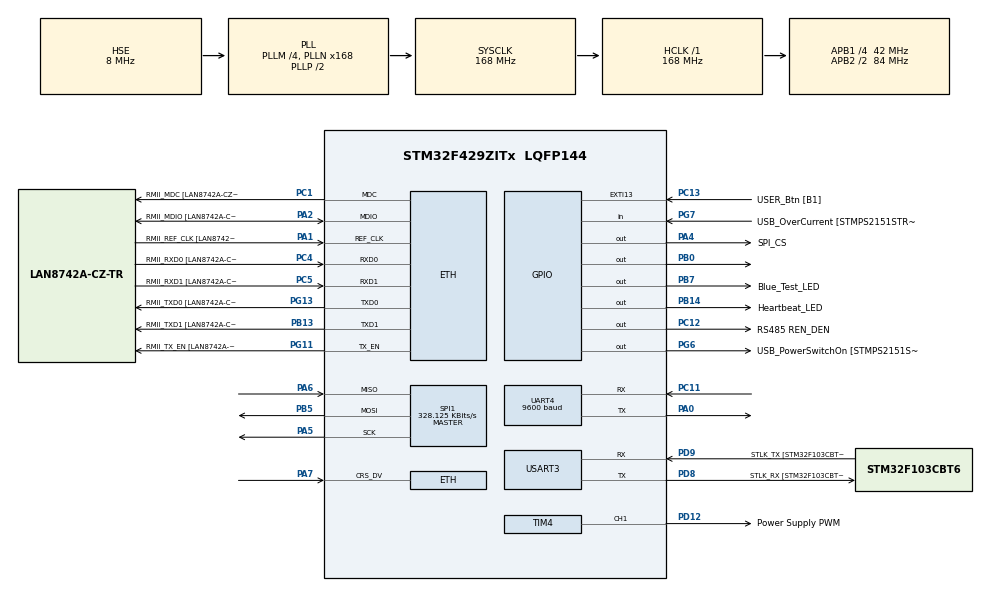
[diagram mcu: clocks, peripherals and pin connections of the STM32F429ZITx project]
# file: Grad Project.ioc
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Dma.Request0=UART4_RX
Dma.UART4_RX.0.Direction=DMA_PERIPH_TO_MEMORY
Dma.UART4_RX.0.FIFOMode=DMA_FIFOMODE_DISABLE
Dma.UART4_RX.0.Instance=DMA1_Stream2
Dma.UART4_RX.0.MemDataAlignment=DMA_MDATAALIGN_BYTE
Dma.UART4_RX.0.MemInc=DMA_MINC_ENABLE
Dma.UART4_RX.0.Mode=DMA_CIRCULAR
Dma.UART4_RX.0.PeriphDataAlignment=DMA_PDATAALIGN_BYTE
Dma.UART4_RX.0.PeriphInc=DMA_PINC_DISABLE
Dma.UART4_RX.0.Priority=DMA_PRIORITY_LOW
ETH.MediaInterface=HAL_ETH_RMII_MODE
LWIP.BSP.number=1
LWIP.GATEWAY_ADDRESS=192.168.000.001
LWIP.IP_ADDRESS=192.168.001.111
LWIP.LWIP_DHCP=0
LWIP.LWIP_HTTPD=1
LWIP.LWIP_HTTPD_CGI=1
LWIP.LWIP_HTTPD_SSI=1
LWIP.NETMASK_ADDRESS=255.255.255.000
LWIP.Version=v2.1.2_Cube
LWIP0.BSP.STBoard=false
LWIP0.BSP.api=BSP_COMPONENT_DRIVER
LWIP0.BSP.component=LAN8742
LWIP0.BSP.instance=LAN8742
LWIP0.BSP.name=Driver_PHY
LWIP0.BSP.semaphore=S_LAN8742
LWIP0.BSP.solution=LAN8742
Mcu.Family=STM32F4
Mcu.Name=STM32F429ZITx
Mcu.Package=LQFP144
NVIC.DMA1_Stream2_IRQn=true\:0\:0\:false\:false\:true\:false\:true\:true
NVIC.PriorityGroup=NVIC_PRIORITYGROUP_4
NVIC.TIM2_IRQn=true\:0\:0\:false\:false\:true\:true\:true\:true
NVIC.TIM3_IRQn=true\:0\:0\:false\:false\:true\:true\:true\:true
NVIC.UART4_IRQn=true\:0\:0\:false\:false\:true\:true\:true\:true
NVIC.USART3_IRQn=true\:0\:0\:false\:false\:true\:true\:true\:true
PA0/WKUP.Mode=Asynchronous
PA0/WKUP.Signal=UART4_TX
PA1.GPIO_Label=RMII_REF_CLK [LAN8742A-CZ-TR_REFCLK0]
PA1.Mode=RMII
PA1.Signal=ETH_REF_CLK
PA10.GPIO_Label=USB_ID
PA10.Signal=USB_OTG_FS_ID
PA11.GPIO_Label=USB_DM
PA11.Signal=USB_OTG_FS_DM
PA12.GPIO_Label=USB_DP
PA12.Signal=USB_OTG_FS_DP
PA13.GPIO_Label=TMS
PA13.Mode=Serial_Wire
PA13.Signal=SYS_JTMS-SWDIO
PA14.GPIO_Label=TCK
PA14.Mode=Serial_Wire
PA14.Signal=SYS_JTCK-SWCLK
PA2.GPIO_Label=RMII_MDIO [LAN8742A-CZ-TR_MDIO]
PA2.Mode=RMII
PA2.Signal=ETH_MDIO
PA4.GPIO_Label=SPI_CS
PA4.Signal=GPIO_Output
PA5.Mode=Full_Duplex_Master
PA5.Signal=SPI1_SCK
PA6.Mode=Full_Duplex_Master
PA6.Signal=SPI1_MISO
PA7.Mode=RMII
PA7.Signal=ETH_CRS_DV
PA8.GPIO_Label=USB_SOF [TP1]
PA8.Signal=USB_OTG_FS_SOF
PA9.GPIO_Label=USB_VBUS
PA9.Signal=USB_OTG_FS_VBUS
PB0.Signal=GPIO_Output
PB13.GPIO_Label=RMII_TXD1 [LAN8742A-CZ-TR_TXD1]
PB13.Mode=RMII
PB13.Signal=ETH_TXD1
PB14.GPIO_Label=Heartbeat_LED
PB14.Signal=GPIO_Output
PB5.Mode=Full_Duplex_Master
PB5.Signal=SPI1_MOSI
PB7.GPIO_Label=Blue_Test_LED
PB7.Signal=GPIO_Output
PC1.GPIO_Label=RMII_MDC [LAN8742A-CZ-TR_MDC]
PC1.Mode=RMII
PC1.Signal=ETH_MDC
PC11.Mode=Asynchronous
PC11.Signal=UART4_RX
PC12.GPIO_Label=RS485 REN_DEN
PC12.Signal=GPIO_Output
PC13.GPIO_Label=USER_Btn [B1]
PC13.Signal=GPXTI13
PC14/OSC32_IN.Mode=LSE-External-Oscillator
PC14/OSC32_IN.Signal=RCC_OSC32_IN
PC15/OSC32_OUT.Mode=LSE-External-Oscillator
PC15/OSC32_OUT.Signal=RCC_OSC32_OUT
PC4.GPIO_Label=RMII_RXD0 [LAN8742A-CZ-TR_RXD0]
PC4.Mode=RMII
PC4.Signal=ETH_RXD0
PC5.GPIO_Label=RMII_RXD1 [LAN8742A-CZ-TR_RXD1]
PC5.Mode=RMII
PC5.Signal=ETH_RXD1
PD12.GPIO_Label=Power Supply PWM
PD12.Signal=S_TIM4_CH1
PD8.GPIO_Label=STLK_RX [STM32F103CBT6_PA3]
PD8.Mode=Asynchronous
PD8.Signal=USART3_TX
PD9.GPIO_Label=STLK_TX [STM32F103CBT6_PA2]
PD9.Mode=Asynchronous
PD9.Signal=USART3_RX
PG11.GPIO_Label=RMII_TX_EN [LAN8742A-CZ-TR_TXEN]
PG11.Mode=RMII
PG11.Signal=ETH_TX_EN
PG13.GPIO_Label=RMII_TXD0 [LAN8742A-CZ-TR_TXD0]
PG13.Mode=RMII
PG13.Signal=ETH_TXD0
PG6.GPIO_Label=USB_PowerSwitchOn [STMPS2151STR_EN]
PG6.Signal=GPIO_Output
PG7.GPIO_Label=USB_OverCurrent [STMPS2151STR_FAULT]
PG7.Signal=GPIO_Input
PH0/OSC_IN.GPIO_Label=MCO [STM32F103CBT6_PA8]
PH0/OSC_IN.Mode=HSE-External-Clock-Source
PH0/OSC_IN.Signal=RCC_OSC_IN
PH1/OSC_OUT.Mode=HSE-External-Clock-Source
PH1/OSC_OUT.Signal=RCC_OSC_OUT
ProjectManager.HeapSize=0x200
ProjectManager.StackSize=0x400
ProjectManager.TargetToolchain=STM32CubeIDE
RCC.48MHZClocksFreq_Value=48000000
RCC.AHBFreq_Value=168000000
RCC.APB1CLKDivider=RCC_HCLK_DIV4
RCC.APB1Freq_Value=42000000
RCC.APB1TimFreq_Value=84000000
RCC.APB2CLKDivider=RCC_HCLK_DIV2
RCC.APB2Freq_Value=84000000
RCC.APB2TimCLKDivider=2
RCC.APB2TimFreq_Value=168000000
RCC.CortexFreq_Value=168000000
RCC.HCLKFreq_Value=168000000
RCC.HSE_VALUE=8000000
RCC.HSI_VALUE=16000000
RCC.PLLM=4
RCC.PLLMUL=RCC_PLL_MUL9
RCC.PLLN=168
RCC.PLLQ=7
RCC.PLLSourceVirtual=RCC_PLLSOURCE_HSE
RCC.PRESCALERUSB=RCC_USBCLKSOURCE_PLL_DIV1_5
RCC.SYSCLKFreq_VALUE=168000000
RCC.SYSCLKSource=RCC_SYSCLKSOURCE_PLLCLK
RCC.SYSCLKSourceVirtual=RCC_SYSCLKSOURCE_PLLCLK
RCC.USBFreq_Value=48000000
RCC.VCOOutputFreq_Value=336000000
SH.S_TIM4_CH1.0=TIM4_CH1,PWM Generation1 CH1
SPI1.BaudRatePrescaler=SPI_BAUDRATEPRESCALER_256
SPI1.CLKPhase=SPI_PHASE_2EDGE
SPI1.CLKPolarity=SPI_POLARITY_HIGH
SPI1.CRCCalculation=SPI_CRCCALCULATION_DISABLE
SPI1.CalculateBaudRate=328.125 KBits/s
SPI1.Direction=SPI_DIRECTION_2LINES
SPI1.Mode=SPI_MODE_MASTER
SPI1.VirtualType=VM_MASTER
TIM2.Period=20 - 1
TIM2.Prescaler=42000 - 1
TIM3.AutoReloadPreload=TIM_AUTORELOAD_PRELOAD_DISABLE
TIM3.Period=20 - 1
TIM3.Prescaler=42000 - 1
TIM4.Channel-PWM\ Generation1\ CH1=TIM_CHANNEL_1
TIM4.Period=100-1
TIM4.Prescaler=840 - 1
UART4.BaudRate=9600
UART4.VirtualMode=Asynchronous
USART3.VirtualMode=VM_ASYNC
VP_CRC_VS_CRC.Mode=CRC_Activate
VP_IWDG_VS_IWDG.Mode=IWDG_Activate
VP_LWIP_VS_Enabled.Mode=Enabled
VP_RTC_VS_RTC_Activate.Mode=RTC_Enabled
VP_TIM2_VS_ClockSourceINT.Mode=Internal
VP_TIM3_VS_ClockSourceINT.Mode=Internal
VP_TIM4_VS_ClockSourceINT.Mode=Internal
board=NUCLEO-F429ZI

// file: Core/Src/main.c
/* USER CODE BEGIN Header */
/**
  ******************************************************************************
  * @file           : main.c
  * @brief          : Main program body
  ******************************************************************************
  * @attention
  *
  * Copyright (c) 2023 STMicroelectronics.
  * All rights reserved.
  *
  * This software is licensed under terms that can be found in the LICENSE file
  * in the root directory of this software component.
  * If no LICENSE file comes with this software, it is provided AS-IS.
  *
  ******************************************************************************
  */
/* USER CODE END Header */
#include "main.h"
#include "lwip.h"

/* USER CODE BEGIN Includes */
#include "KernalThread.h"
#include "Disk\SPI.h"
#include "SoftTimers.h"
#include "RS485.h"
#include "UserApps/PowerControlTask.h"
#include "lwip/apps/httpd.h"

/* USER CODE END Includes */

CRC_HandleTypeDef hcrc;

IWDG_HandleTypeDef hiwdg;

RTC_HandleTypeDef hrtc;

SPI_HandleTypeDef hspi1;

TIM_HandleTypeDef htim2;
TIM_HandleTypeDef htim3;
TIM_HandleTypeDef htim4;

UART_HandleTypeDef huart4;
UART_HandleTypeDef huart3;
DMA_HandleTypeDef hdma_uart4_rx;

/* USER CODE BEGIN PV */
extern struct netif gnetif;
/* USER CODE END PV */

void SystemClock_Config(void);
static void MX_GPIO_Init(void);
static void MX_DMA_Init(void);
static void MX_USART3_UART_Init(void);
static void MX_CRC_Init(void);
static void MX_UART4_Init(void);
static void MX_TIM3_Init(void);
static void MX_TIM4_Init(void);
static void MX_SPI1_Init(void);
static void MX_TIM2_Init(void);
static void MX_RTC_Init(void);
static void MX_IWDG_Init(void);

/* USER CODE BEGIN 0 */
int __io_putchar(int ch)
{
	HAL_UART_Transmit(&huart3, (uint8_t *)&ch, 1, HAL_MAX_DELAY);

	return ch;
}

int __io_getchar(int ch)
{
	HAL_UART_Receive(&huart3, (uint8_t *)&ch, 1, HAL_MAX_DELAY);
	HAL_UART_Transmit(&huart3, (uint8_t *)&ch, 1, HAL_MAX_DELAY);

	return ch;
}

void HAL_UART_TxCpltCallback(UART_HandleTypeDef *huart)
{
	if ( huart == NULL)
	{
		return;
	}
	if ( huart->Instance == UART4)
	{
		RS485TxInterrupt();
	}
}

void HAL_UARTEx_RxEventCallback(UART_HandleTypeDef *huart, uint16_t Size)
{
	if ( huart == NULL)
	{
		return;
	}
	if ( huart->Instance == UART4)
	{
		RS485RxInterrupt(Size);
	}
}

void HAL_TIM_PeriodElapsedCallback(TIM_HandleTypeDef * htim)
{
	if ( htim == NULL)
	{
		return;
	}
	if (htim == &htim3)
	{

		TimerInterrupt();
	}
}

void HAL_SPI_TxCpltCallback(SPI_HandleTypeDef *hspi)
{
	if ( hspi == &hspi1)
	{
		//SPI_TxInterrupt();
	}
}

void HAL_SPI_RxCpltCallback(SPI_HandleTypeDef *hspi)
{
	if ( hspi == &hspi1)
	{
		//SPI_RxInterrupt();
	}
}
/* USER CODE END 0 */

int main(void)
{

  /* MCU Configuration--------------------------------------------------------*/

  /* Reset of all peripherals, Initializes the Flash interface and the Systick. */
  HAL_Init();

  /* Configure the system clock */
  SystemClock_Config();

  /* Initialize all configured peripherals */
  MX_GPIO_Init();
  MX_DMA_Init();
  MX_USART3_UART_Init();
  MX_CRC_Init();
  MX_UART4_Init();
  MX_TIM3_Init();
  MX_TIM4_Init();
  MX_SPI1_Init();
  MX_TIM2_Init();
  MX_LWIP_Init();
  MX_RTC_Init();
  //MX_IWDG_Init();
  /* USER CODE BEGIN 2 */
  HAL_TIM_Base_Start_IT(&htim4);
  HAL_TIM_PWM_Start(&htim4, TIM_CHANNEL_1);
  HAL_TIM_Base_Start_IT(&htim3);
  httpd_init();
  /* USER CODE END 2 */

  /* Infinite loop */
  /* USER CODE BEGIN WHILE */
  while (1)
  {
	  //HAL_IWDG_Refresh(&hiwdg);
	  printf("Starting Kernel Task\n");
	  KernalTask();
    /* USER CODE END WHILE */

  }
}

void SystemClock_Config(void)
{
  RCC_OscInitTypeDef RCC_OscInitStruct = {0};
  RCC_ClkInitTypeDef RCC_ClkInitStruct = {0};

  /** Configure the main internal regulator output voltage
  */
  __HAL_RCC_PWR_CLK_ENABLE();
  __HAL_PWR_VOLTAGESCALING_CONFIG(PWR_REGULATOR_VOLTAGE_SCALE1);

  /** Initializes the RCC Oscillators according to the specified parameters
  * in the RCC_OscInitTypeDef structure.
  */
  RCC_OscInitStruct.OscillatorType = RCC_OSCILLATORTYPE_LSI|RCC_OSCILLATORTYPE_HSE;
  RCC_OscInitStruct.HSEState = RCC_HSE_BYPASS;
  RCC_OscInitStruct.LSIState = RCC_LSI_ON;
  RCC_OscInitStruct.PLL.PLLState = RCC_PLL_ON;
  RCC_OscInitStruct.PLL.PLLSource = RCC_PLLSOURCE_HSE;
  RCC_OscInitStruct.PLL.PLLM = 4;
  RCC_OscInitStruct.PLL.PLLN = 168;
  RCC_OscInitStruct.PLL.PLLP = RCC_PLLP_DIV2;
  RCC_OscInitStruct.PLL.PLLQ = 7;
  if (HAL_RCC_OscConfig(&RCC_OscInitStruct) != HAL_OK)
  {
    Error_Handler();
  }

  /** Initializes the CPU, AHB and APB buses clocks
  */
  RCC_ClkInitStruct.ClockType = RCC_CLOCKTYPE_HCLK|RCC_CLOCKTYPE_SYSCLK
                              |RCC_CLOCKTYPE_PCLK1|RCC_CLOCKTYPE_PCLK2;
  RCC_ClkInitStruct.SYSCLKSource = RCC_SYSCLKSOURCE_PLLCLK;
  RCC_ClkInitStruct.AHBCLKDivider = RCC_SYSCLK_DIV1;
  RCC_ClkInitStruct.APB1CLKDivider = RCC_HCLK_DIV4;
  RCC_ClkInitStruct.APB2CLKDivider = RCC_HCLK_DIV2;

  if (HAL_RCC_ClockConfig(&RCC_ClkInitStruct, FLASH_LATENCY_5) != HAL_OK)
  {
    Error_Handler();
  }
}

static void MX_CRC_Init(void)
{

  hcrc.Instance = CRC;
  if (HAL_CRC_Init(&hcrc) != HAL_OK)
  {
    Error_Handler();
  }

}

static void MX_IWDG_Init(void)
{

  hiwdg.Instance = IWDG;
  hiwdg.Init.Prescaler = IWDG_PRESCALER_4;
  hiwdg.Init.Reload = 4095;
  if (HAL_IWDG_Init(&hiwdg) != HAL_OK)
  {
    Error_Handler();
  }

}

static void MX_RTC_Init(void)
{

  /** Initialize RTC Only
  */
  hrtc.Instance = RTC;
  hrtc.Init.HourFormat = RTC_HOURFORMAT_24;
  hrtc.Init.AsynchPrediv = 127;
  hrtc.Init.SynchPrediv = 255;
  hrtc.Init.OutPut = RTC_OUTPUT_DISABLE;
  hrtc.Init.OutPutPolarity = RTC_OUTPUT_POLARITY_HIGH;
  hrtc.Init.OutPutType = RTC_OUTPUT_TYPE_OPENDRAIN;
  if (HAL_RTC_Init(&hrtc) != HAL_OK)
  {
    Error_Handler();
  }

}

static void MX_SPI1_Init(void)
{

  /* SPI1 parameter configuration*/
  hspi1.Instance = SPI1;
  hspi1.Init.Mode = SPI_MODE_MASTER;
  hspi1.Init.Direction = SPI_DIRECTION_2LINES;
  hspi1.Init.DataSize = SPI_DATASIZE_8BIT;
  hspi1.Init.CLKPolarity = SPI_POLARITY_HIGH;
  hspi1.Init.CLKPhase = SPI_PHASE_2EDGE;
  hspi1.Init.NSS = SPI_NSS_SOFT;
  hspi1.Init.BaudRatePrescaler = SPI_BAUDRATEPRESCALER_256;
  hspi1.Init.FirstBit = SPI_FIRSTBIT_MSB;
  hspi1.Init.TIMode = SPI_TIMODE_DISABLE;
  hspi1.Init.CRCCalculation = SPI_CRCCALCULATION_DISABLE;
  hspi1.Init.CRCPolynomial = 10;
  if (HAL_SPI_Init(&hspi1) != HAL_OK)
  {
    Error_Handler();
  }

}

static void MX_TIM2_Init(void)
{

  TIM_ClockConfigTypeDef sClockSourceConfig = {0};
  TIM_MasterConfigTypeDef sMasterConfig = {0};

  htim2.Instance = TIM2;
  htim2.Init.Prescaler = 42000 - 1;
  htim2.Init.CounterMode = TIM_COUNTERMODE_UP;
  htim2.Init.Period = 20 - 1;
  htim2.Init.ClockDivision = TIM_CLOCKDIVISION_DIV1;
  htim2.Init.AutoReloadPreload = TIM_AUTORELOAD_PRELOAD_DISABLE;
  if (HAL_TIM_Base_Init(&htim2) != HAL_OK)
  {
    Error_Handler();
  }
  sClockSourceConfig.ClockSource = TIM_CLOCKSOURCE_INTERNAL;
  if (HAL_TIM_ConfigClockSource(&htim2, &sClockSourceConfig) != HAL_OK)
  {
    Error_Handler();
  }
  sMasterConfig.MasterOutputTrigger = TIM_TRGO_RESET;
  sMasterConfig.MasterSlaveMode = TIM_MASTERSLAVEMODE_DISABLE;
  if (HAL_TIMEx_MasterConfigSynchronization(&htim2, &sMasterConfig) != HAL_OK)
  {
    Error_Handler();
  }

}

static void MX_TIM3_Init(void)
{

  TIM_ClockConfigTypeDef sClockSourceConfig = {0};
  TIM_MasterConfigTypeDef sMasterConfig = {0};

  htim3.Instance = TIM3;
  htim3.Init.Prescaler = 42000 - 1;
  htim3.Init.CounterMode = TIM_COUNTERMODE_UP;
  htim3.Init.Period = 20 - 1;
  htim3.Init.ClockDivision = TIM_CLOCKDIVISION_DIV1;
  htim3.Init.AutoReloadPreload = TIM_AUTORELOAD_PRELOAD_DISABLE;
  if (HAL_TIM_Base_Init(&htim3) != HAL_OK)
  {
    Error_Handler();
  }
  sClockSourceConfig.ClockSource = TIM_CLOCKSOURCE_INTERNAL;
  if (HAL_TIM_ConfigClockSource(&htim3, &sClockSourceConfig) != HAL_OK)
  {
    Error_Handler();
  }
  sMasterConfig.MasterOutputTrigger = TIM_TRGO_RESET;
  sMasterConfig.MasterSlaveMode = TIM_MASTERSLAVEMODE_DISABLE;
  if (HAL_TIMEx_MasterConfigSynchronization(&htim3, &sMasterConfig) != HAL_OK)
  {
    Error_Handler();
  }

}

static void MX_TIM4_Init(void)
{

  TIM_ClockConfigTypeDef sClockSourceConfig = {0};
  TIM_MasterConfigTypeDef sMasterConfig = {0};
  TIM_OC_InitTypeDef sConfigOC = {0};

  htim4.Instance = TIM4;
  htim4.Init.Prescaler = 840 - 1;
  htim4.Init.CounterMode = TIM_COUNTERMODE_UP;
  htim4.Init.Period = 100-1;
  htim4.Init.ClockDivision = TIM_CLOCKDIVISION_DIV1;
  htim4.Init.AutoReloadPreload = TIM_AUTORELOAD_PRELOAD_DISABLE;
  if (HAL_TIM_Base_Init(&htim4) != HAL_OK)
  {
    Error_Handler();
  }
  sClockSourceConfig.ClockSource = TIM_CLOCKSOURCE_INTERNAL;
  if (HAL_TIM_ConfigClockSource(&htim4, &sClockSourceConfig) != HAL_OK)
  {
    Error_Handler();
  }
  if (HAL_TIM_PWM_Init(&htim4) != HAL_OK)
  {
    Error_Handler();
  }
  sMasterConfig.MasterOutputTrigger = TIM_TRGO_RESET;
  sMasterConfig.MasterSlaveMode = TIM_MASTERSLAVEMODE_DISABLE;
  if (HAL_TIMEx_MasterConfigSynchronization(&htim4, &sMasterConfig) != HAL_OK)
  {
    Error_Handler();
  }
  sConfigOC.OCMode = TIM_OCMODE_PWM1;
  sConfigOC.Pulse = 0;
  sConfigOC.OCPolarity = TIM_OCPOLARITY_HIGH;
  sConfigOC.OCFastMode = TIM_OCFAST_DISABLE;
  if (HAL_TIM_PWM_ConfigChannel(&htim4, &sConfigOC, TIM_CHANNEL_1) != HAL_OK)
  {
    Error_Handler();
  }
  HAL_TIM_MspPostInit(&htim4);

}

static void MX_UART4_Init(void)
{

  huart4.Instance = UART4;
  huart4.Init.BaudRate = 9600;
  huart4.Init.WordLength = UART_WORDLENGTH_8B;
  huart4.Init.StopBits = UART_STOPBITS_1;
  huart4.Init.Parity = UART_PARITY_NONE;
  huart4.Init.Mode = UART_MODE_TX_RX;
  huart4.Init.HwFlowCtl = UART_HWCONTROL_NONE;
  huart4.Init.OverSampling = UART_OVERSAMPLING_16;
  if (HAL_UART_Init(&huart4) != HAL_OK)
  {
    Error_Handler();
  }

}

static void MX_USART3_UART_Init(void)
{

  huart3.Instance = USART3;
  huart3.Init.BaudRate = 115200;
  huart3.Init.WordLength = UART_WORDLENGTH_8B;
  huart3.Init.StopBits = UART_STOPBITS_1;
  huart3.Init.Parity = UART_PARITY_NONE;
  huart3.Init.Mode = UART_MODE_TX_RX;
  huart3.Init.HwFlowCtl = UART_HWCONTROL_NONE;
  huart3.Init.OverSampling = UART_OVERSAMPLING_16;
  if (HAL_UART_Init(&huart3) != HAL_OK)
  {
    Error_Handler();
  }

}

static void MX_DMA_Init(void)
{

  /* DMA controller clock enable */
  __HAL_RCC_DMA1_CLK_ENABLE();

  /* DMA interrupt init */
  /* DMA1_Stream2_IRQn interrupt configuration */
  HAL_NVIC_SetPriority(DMA1_Stream2_IRQn, 0, 0);
  HAL_NVIC_EnableIRQ(DMA1_Stream2_IRQn);

}

static void MX_GPIO_Init(void)
{
  GPIO_InitTypeDef GPIO_InitStruct = {0};

  /* GPIO Ports Clock Enable */
  __HAL_RCC_GPIOC_CLK_ENABLE();
  __HAL_RCC_GPIOH_CLK_ENABLE();
  __HAL_RCC_GPIOA_CLK_ENABLE();
  __HAL_RCC_GPIOB_CLK_ENABLE();
  __HAL_RCC_GPIOD_CLK_ENABLE();
  __HAL_RCC_GPIOG_CLK_ENABLE();

  /*Configure GPIO pin Output Level */
  HAL_GPIO_WritePin(SPI_CS_GPIO_Port, SPI_CS_Pin, GPIO_PIN_RESET);

  /*Configure GPIO pin Output Level */
  HAL_GPIO_WritePin(GPIOB, GPIO_PIN_0|Heartbeat_LED_Pin|Blue_Test_LED_Pin, GPIO_PIN_RESET);

  /*Configure GPIO pin Output Level */
  HAL_GPIO_WritePin(USB_PowerSwitchOn_GPIO_Port, USB_PowerSwitchOn_Pin, GPIO_PIN_RESET);

  /*Configure GPIO pin Output Level */
  HAL_GPIO_WritePin(RS485_REN_DEN_GPIO_Port, RS485_REN_DEN_Pin, GPIO_PIN_RESET);

  /*Configure GPIO pin : USER_Btn_Pin */
  GPIO_InitStruct.Pin = USER_Btn_Pin;
  GPIO_InitStruct.Mode = GPIO_MODE_IT_RISING;
  GPIO_InitStruct.Pull = GPIO_NOPULL;
  HAL_GPIO_Init(USER_Btn_GPIO_Port, &GPIO_InitStruct);

  /*Configure GPIO pin : SPI_CS_Pin */
  GPIO_InitStruct.Pin = SPI_CS_Pin;
  GPIO_InitStruct.Mode = GPIO_MODE_OUTPUT_PP;
  GPIO_InitStruct.Pull = GPIO_NOPULL;
  GPIO_InitStruct.Speed = GPIO_SPEED_FREQ_LOW;
  HAL_GPIO_Init(SPI_CS_GPIO_Port, &GPIO_InitStruct);

  /*Configure GPIO pins : PB0 Heartbeat_LED_Pin Blue_Test_LED_Pin */
  GPIO_InitStruct.Pin = GPIO_PIN_0|Heartbeat_LED_Pin|Blue_Test_LED_Pin;
  GPIO_InitStruct.Mode = GPIO_MODE_OUTPUT_PP;
  GPIO_InitStruct.Pull = GPIO_NOPULL;
  GPIO_InitStruct.Speed = GPIO_SPEED_FREQ_LOW;
  HAL_GPIO_Init(GPIOB, &GPIO_InitStruct);

  /*Configure GPIO pin : USB_PowerSwitchOn_Pin */
  GPIO_InitStruct.Pin = USB_PowerSwitchOn_Pin;
  GPIO_InitStruct.Mode = GPIO_MODE_OUTPUT_PP;
  GPIO_InitStruct.Pull = GPIO_NOPULL;
  GPIO_InitStruct.Speed = GPIO_SPEED_FREQ_LOW;
  HAL_GPIO_Init(USB_PowerSwitchOn_GPIO_Port, &GPIO_InitStruct);

  /*Configure GPIO pin : USB_OverCurrent_Pin */
  GPIO_InitStruct.Pin = USB_OverCurrent_Pin;
  GPIO_InitStruct.Mode = GPIO_MODE_INPUT;
  GPIO_InitStruct.Pull = GPIO_NOPULL;
  HAL_GPIO_Init(USB_OverCurrent_GPIO_Port, &GPIO_InitStruct);

  /*Configure GPIO pins : USB_SOF_Pin USB_ID_Pin USB_DM_Pin USB_DP_Pin */
  GPIO_InitStruct.Pin = USB_SOF_Pin|USB_ID_Pin|USB_DM_Pin|USB_DP_Pin;
  GPIO_InitStruct.Mode = GPIO_MODE_AF_PP;
  GPIO_InitStruct.Pull = GPIO_NOPULL;
  GPIO_InitStruct.Speed = GPIO_SPEED_FREQ_VERY_HIGH;
  GPIO_InitStruct.Alternate = GPIO_AF10_OTG_FS;
  HAL_GPIO_Init(GPIOA, &GPIO_InitStruct);

  /*Configure GPIO pin : USB_VBUS_Pin */
  GPIO_InitStruct.Pin = USB_VBUS_Pin;
  GPIO_InitStruct.Mode = GPIO_MODE_INPUT;
  GPIO_InitStruct.Pull = GPIO_NOPULL;
  HAL_GPIO_Init(USB_VBUS_GPIO_Port, &GPIO_InitStruct);

  /*Configure GPIO pin : RS485_REN_DEN_Pin */
  GPIO_InitStruct.Pin = RS485_REN_DEN_Pin;
  GPIO_InitStruct.Mode = GPIO_MODE_OUTPUT_PP;
  GPIO_InitStruct.Pull = GPIO_NOPULL;
  GPIO_InitStruct.Speed = GPIO_SPEED_FREQ_LOW;
  HAL_GPIO_Init(RS485_REN_DEN_GPIO_Port, &GPIO_InitStruct);

}

void Error_Handler(void)
{
  __disable_irq();
  while (1)
  {
  }
}
